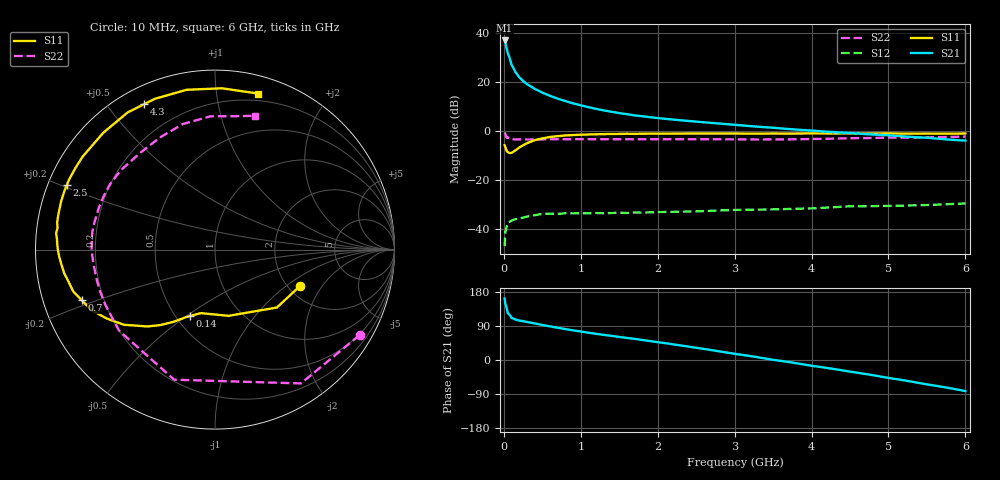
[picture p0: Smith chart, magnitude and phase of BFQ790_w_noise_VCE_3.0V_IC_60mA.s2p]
! Infineon Technologies  Discrete & RF Semiconductors
! BFQ790
! VCE =  3.0 V,  IC =  60 mA
! Common Emitter S-Parameters:  May 2015
# GHz  S  MA  R  50
!  f  S11  S21  S12  S22
! GHz  MAG  ANG  MAG  ANG  MAG  ANG  MAG  ANG
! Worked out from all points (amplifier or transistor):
!   77 points, 10 MHz to 6 GHz, reference 50 ohm
!   highest |S21| = 37.1 dB at 10 MHz (marker M1)
!   |S21| within 3 dB of that: start of sweep to 34.81 MHz
!   unconditionally stable (mu >= 1): 1.428 GHz to end of sweep
!   at 130 MHz: K = 0.67, MSG = 30.8 dB, |S12| = -36.1 dB
!   at 2.2 GHz: K = 1.16, MAG = 16.5 dB, |S12| = -32.9 dB
!   at 6 GHz: K = 1.49, MAG = 8.7 dB, |S12| = -29.5 dB
!   lowest NFmin = 2.33 dB at 1.5 GHz
!   S11 on the Smith chart (normalised r, x): 10 MHz: 2.33, -1.28; 140 MHz: 0.58, -0.51; 700 MHz: 0.12, -0.18; 2.5 GHz: 0.05, +0.21; 4.3 GHz: 0.07, +0.62; 6 GHz: 0.14, +1.30
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0.01  0.5165 -22.9  71.66 162.5  0.0045 67.8  0.9362 -30.6
0.02  0.4722 -43.1  63.52 147.7  0.0088 59.9  0.886 -57.3
0.05  0.3768 -78.4  39.86 123.8  0.0134 35.1  0.7596 -107.4
0.1  0.3625 -102.5  22.92 111.1  0.015 22.3  0.6995 -139.8
0.14  0.397 -110.9  17.54 107.9  0.0158 20.4  0.6842 -150.5
0.15  0.4068 -112.8  16.21 106.8  0.016 19.9  0.6842 -153.2
0.2  0.4643 -119.9  12.76 104.2  0.0166 19.3  0.6812 -160.5
0.25  0.5191 -125.9  10.66 102.4  0.0172 17.0  0.6798 -165.2
0.3  0.5701 -131.3  9.198 100.4  0.0181 13.5  0.6793 -168.7
0.4  0.6574 -140.4  7.369 96.4  0.0193 12.4  0.6821 -173.6
0.5  0.7166 -147.7  6.154 92.5  0.0206 9.0  0.6843 -177.1
0.7  0.7943 -159.2  4.634 85.0  0.0205 7.9  0.6877 177.5
0.9  0.8364 -167.9  3.715 78.1  0.021 1.4  0.6896 173.8
1.1  0.8599 -174.5  3.105 72.0  0.0212 0.3  0.69 170.6
1.5  0.8829 176.0  2.354 60.9  0.0218 -3.1  0.687 165.2
2.1  0.8961 164.6  1.797 44.4  0.0225 -7.3  0.6871 157.0
2.5  0.9004 156.3  1.574 32.3  0.0232 -11.0  0.688 149.9
3.1  0.8984 142.7  1.315 13.5  0.0248 -17.6  0.6821 137.0
4.1  0.9033 120.4  1.006 -18.1  0.0271 -27.4  0.6987 113.8
4.3  0.9014 116.1  0.958 -24.1  0.0282 -30.2  0.708 109.0
5.1  0.9 97.6  0.806 -50.4  0.0301 -42.5  0.7426 89.9
6  0.9018 74.6  0.645 -82.1  0.0336 -58.8  0.7775 73.5
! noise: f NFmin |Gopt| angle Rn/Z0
0.45  3.2  0.34  120  0.36
0.9  2.39  0.48  159  0.14
1.5  2.33  0.63  -178  0.07
1.8  2.52  0.66  -172  0.07
2.6  3.11  0.72  -154  0.19
3.5  3.88  0.83  -137  0.49
